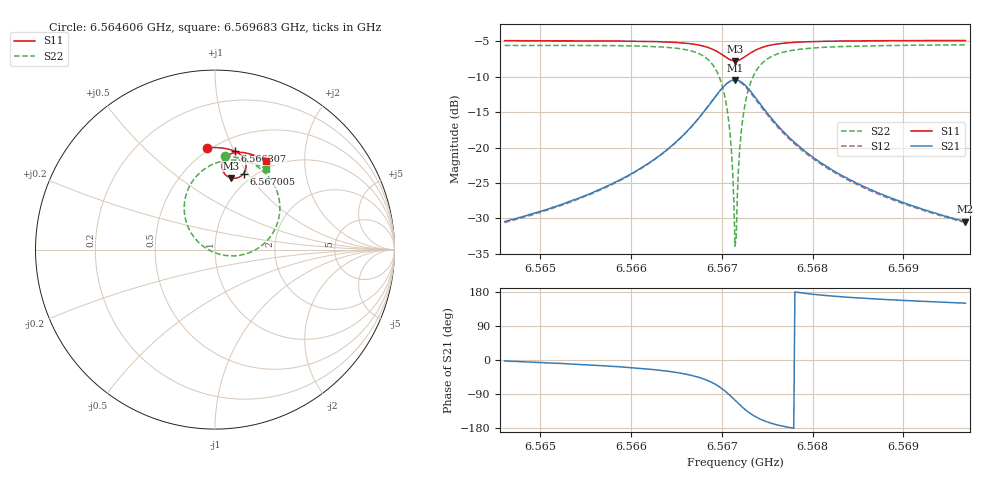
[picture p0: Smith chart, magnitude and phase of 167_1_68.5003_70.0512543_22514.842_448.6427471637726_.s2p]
#  HZ  S  RI  R  50.00
! Rohde & Schwarz Vector Network Analyzer
! Rohde-Schwarz,ZNB20-2Port,1311601062101988,3.16
! Created: UTC 3/20/2024, 5:11:10 PM
! freq[Hz]  re:S11  im:S11  re:S21  im:S21  re:S12  im:S12  re:S22  im:S22
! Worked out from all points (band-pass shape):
!   401 points, 6.564606 GHz to 6.569683 GHz, reference 50 ohm
!   highest |S21| = -10.44 dB at 6.567145 GHz (marker M1); lowest = -30.5 dB at 6.569683 GHz (marker M2)
!   |S21| within 3 dB of the highest: 6.566893 GHz to 6.567399 GHz (506.6 kHz wide, 0.00771 % of centre)
!   lowest |S11| = -7.8 dB at 6.567145 GHz (marker M3), VSWR 2.38, Z = 42.3 + j40.5 ohm
!   |S11| at or under -10 dB: nowhere
!   |S22| runs from -33.9 to -5.5 dB; largest |S21 - S12| = 0.015
!   S11 on the Smith chart (normalised r, x): 6.564606 GHz: 0.48, +0.80; 6.566307 GHz: 0.63, +1.00; 6.567005 GHz: 0.90, +0.95; 6.569683 GHz: 0.90, +1.31
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6.5646063e9  -0.0437 0.5673  0.0299 -0.00141  0.0295 -0.00183  0.0572 0.5229
6.5654567e9  0.027 0.5671  0.0438 -0.00933  0.043 -0.00982  0.1406 0.5069
6.5663071e9  0.1094 0.5485  0.0777 -0.0394  0.0767 -0.0403  0.2611 0.4436
6.5665863e9  0.1429 0.5278  0.0999 -0.074  0.0984 -0.0755  0.3203 0.3753
6.5667894e9  0.1673 0.4945  0.1142 -0.132  0.1115 -0.1346  0.3596 0.2634
6.5669163e9  0.1725 0.4569  0.103 -0.1979  0.0979 -0.2018  0.3443 0.1375
6.5670052e9  0.1588 0.4232  0.0621 -0.2557  0.0532 -0.2589  0.2696 0.03
6.5670432e9  0.1455 0.4101  0.031 -0.277  0.02 -0.279  0.2115 -0.00835
6.5670813e9  0.1273 0.4005  -0.0083 -0.2913  -0.021 -0.2907  0.139 -0.0316
6.5671067e9  0.1135 0.3974  -0.0379 -0.2948  -0.0511 -0.292  0.0854 -0.0351
6.5671321e9  0.0988 0.3974  -0.0686 -0.2924  -0.0816 -0.2873  0.031 -0.0276
6.5671448e9  0.0913 0.3986  -0.0837 -0.2889  -0.0964 -0.2825  0.00443 -0.0196
6.5671575e9  0.0842 0.4006  -0.0983 -0.2838  -0.1107 -0.2764  -0.021 -0.00896
6.5671702e9  0.0773 0.4035  -0.1122 -0.2775  -0.1241 -0.2689  -0.0451 0.00418
6.5671955e9  0.0649 0.411  -0.1379 -0.2611  -0.148 -0.2506  -0.0878 0.0369
6.5672336e9  0.0505 0.4264  -0.1676 -0.2296  -0.1747 -0.2176  -0.135 0.0961
6.5672844e9  0.0406 0.4499  -0.1902 -0.1833  -0.1932 -0.1708  -0.1667 0.1803
6.5673479e9  0.0403 0.4772  -0.1961 -0.1303  -0.1957 -0.1194  -0.1681 0.2734
6.5675763e9  0.0783 0.5289  -0.1501 -0.0288  -0.1466 -0.0243  -0.0653 0.4441
6.5679952e9  0.1416 0.5422  -0.0856 0.00929  -0.0835 0.0107  0.077 0.4984
6.5688455e9  0.2237 0.5232  -0.0416 0.0159  -0.0406 0.0161  0.2084 0.4825
6.5696832e9  0.2868 0.4935  -0.0258 0.015  -0.0253 0.0151  0.2852 0.4485
